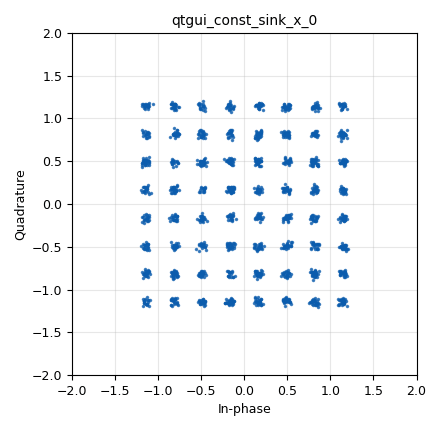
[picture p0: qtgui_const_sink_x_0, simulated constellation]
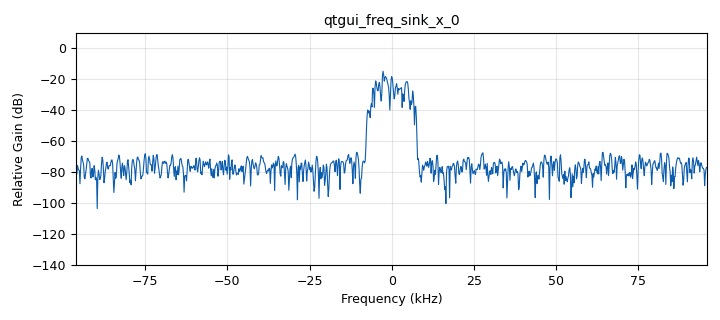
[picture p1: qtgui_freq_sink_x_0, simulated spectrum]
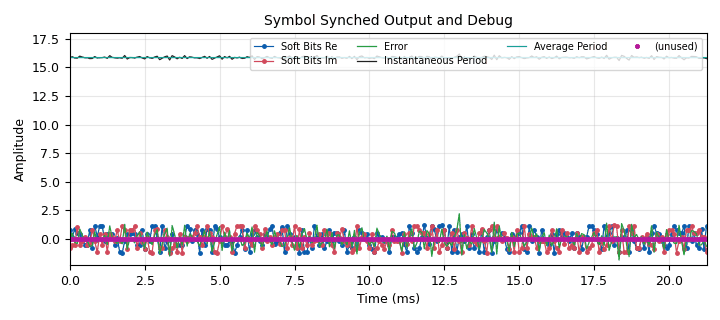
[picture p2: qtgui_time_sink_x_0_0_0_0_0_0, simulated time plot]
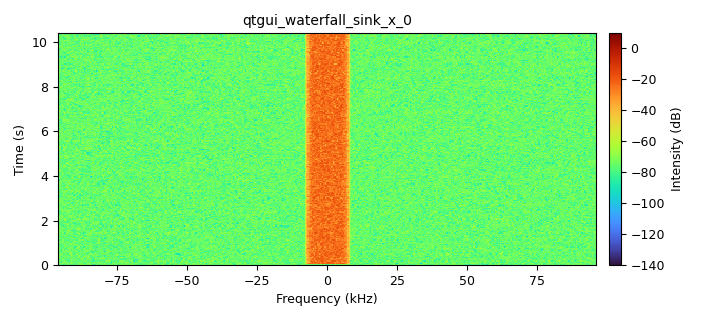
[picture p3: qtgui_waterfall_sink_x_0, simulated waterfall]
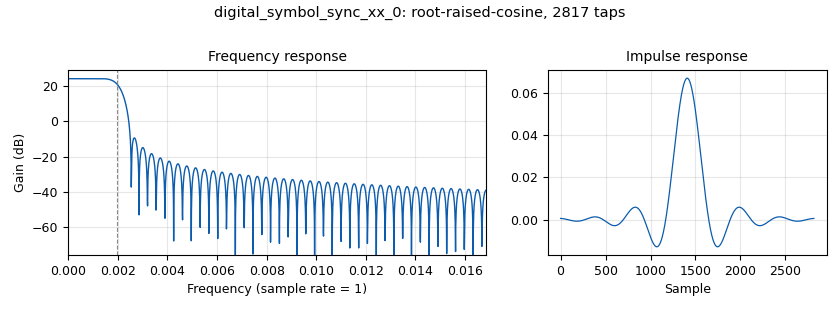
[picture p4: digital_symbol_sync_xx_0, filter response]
<?xml version='1.0' encoding='utf-8'?>
<?grc format='1' created='3.7.13'?>
<flow_graph>
<block>
<key>options</key>
<param><key>id</key><value>top_block</value></param>
<param><key>generate_options</key><value>qt_gui</value></param>
</block>
<block>
<key>variable</key>
<param><key>id</key><value>analog_bw</value></param>
<param><key>value</key><value>baud_rate*(1.0+excess_bw)</value></param>
</block>
<block>
<key>variable</key>
<param><key>id</key><value>baud_rate</value></param>
<param><key>value</key><value>samp_rate/sps</value></param>
</block>
<block>
<key>variable</key>
<param><key>id</key><value>bitrate</value></param>
<param><key>value</key><value>my_con.bits_per_symbol()*baud_rate</value></param>
</block>
<block>
<key>variable_qtgui_range</key>
<param><key>id</key><value>damp</value></param>
<param><key>value</key><value>1.5</value></param>
<param><key>gui_hint</key><value>1,2,1,1</value></param>
<param><key>label</key><value>Damping</value></param>
<param><key>orient</key><value>Qt.Horizontal</value></param>
<param><key>start</key><value>.5</value></param>
<param><key>step</key><value>.1</value></param>
<param><key>stop</key><value>3</value></param>
</block>
<block>
<key>variable</key>
<param><key>id</key><value>excess_bw</value></param>
<param><key>value</key><value>.25</value></param>
</block>
<block>
<key>variable</key>
<param><key>id</key><value>len_taps</value></param>
<param><key>value</key><value>len(rrc_taps)</value></param>
</block>
<block>
<key>variable_qtgui_range</key>
<param><key>id</key><value>loop_bw</value></param>
<param><key>value</key><value>.05</value></param>
<param><key>gui_hint</key><value>1,1,1,1</value></param>
<param><key>label</key><value>Loop BW</value></param>
<param><key>orient</key><value>Qt.Horizontal</value></param>
<param><key>start</key><value>.01</value></param>
<param><key>step</key><value>.001</value></param>
<param><key>stop</key><value>.5</value></param>
</block>
<block>
<key>variable</key>
<param><key>id</key><value>my_con</value></param>
<param><key>_enabled</key><value>0</value></param>
<param><key>value</key><value>digital.constellation_16qam().base()</value></param>
</block>
<block>
<key>variable</key>
<param><key>id</key><value>my_con</value></param>
<param><key>_enabled</key><value>0</value></param>
<param><key>value</key><value>digital.constellation_bpsk().base()</value></param>
</block>
<block>
<key>variable</key>
<param><key>id</key><value>my_con</value></param>
<param><key>_enabled</key><value>0</value></param>
<param><key>value</key><value>digital.constellation_qpsk().base()</value></param>
</block>
<block>
<key>variable</key>
<param><key>id</key><value>my_con</value></param>
<param><key>value</key><value>digital.qam_constellation(64).base()</value></param>
</block>
<block>
<key>variable</key>
<param><key>id</key><value>my_con</value></param>
<param><key>_enabled</key><value>0</value></param>
<param><key>value</key><value>digital.qam_constellation(256).base()</value></param>
</block>
<block>
<key>variable</key>
<param><key>id</key><value>my_con</value></param>
<param><key>_enabled</key><value>0</value></param>
<param><key>value</key><value>digital.qam_constellation(1024).base()</value></param>
</block>
<block>
<key>variable</key>
<param><key>id</key><value>nfilts</value></param>
<param><key>value</key><value>16</value></param>
</block>
<block>
<key>variable</key>
<param><key>id</key><value>ntaps</value></param>
<param><key>value</key><value>int(11*sps*nfilts)</value></param>
</block>
<block>
<key>variable</key>
<param><key>id</key><value>ntaps</value></param>
<param><key>_enabled</key><value>0</value></param>
<param><key>value</key><value>int(sps*nfilts*7)</value></param>
</block>
<block>
<key>variable</key>
<param><key>id</key><value>osps</value></param>
<param><key>value</key><value>1</value></param>
</block>
<block>
<key>variable</key>
<param><key>id</key><value>rrc_taps</value></param>
<param><key>value</key><value>firdes.root_raised_cosine(nfilts,1.0,1.0/(nfilts*sps), excess_bw, ntaps)</value></param>
</block>
<block>
<key>variable</key>
<param><key>id</key><value>samp_rate</value></param>
<param><key>value</key><value>192000</value></param>
</block>
<block>
<key>variable_qtgui_range</key>
<param><key>id</key><value>snr</value></param>
<param><key>value</key><value>42</value></param>
<param><key>gui_hint</key><value>0,0,1,1</value></param>
<param><key>label</key><value>SNR</value></param>
<param><key>orient</key><value>Qt.Horizontal</value></param>
<param><key>start</key><value>10</value></param>
<param><key>step</key><value>1</value></param>
<param><key>stop</key><value>60</value></param>
</block>
<block>
<key>variable</key>
<param><key>id</key><value>snr</value></param>
<param><key>_enabled</key><value>0</value></param>
<param><key>value</key><value>50</value></param>
</block>
<block>
<key>variable</key>
<param><key>id</key><value>sps</value></param>
<param><key>value</key><value>16</value></param>
</block>
<block>
<key>variable_qtgui_range</key>
<param><key>id</key><value>ted_gain</value></param>
<param><key>value</key><value>1</value></param>
<param><key>gui_hint</key><value>1,0,1,1</value></param>
<param><key>label</key><value>TED gain</value></param>
<param><key>orient</key><value>Qt.Horizontal</value></param>
<param><key>start</key><value>.5</value></param>
<param><key>step</key><value>.1</value></param>
<param><key>stop</key><value>3</value></param>
</block>
<block>
<key>variable_qtgui_range</key>
<param><key>id</key><value>xpd</value></param>
<param><key>value</key><value>30</value></param>
<param><key>gui_hint</key><value>0,1,1,1</value></param>
<param><key>label</key><value>XPD</value></param>
<param><key>orient</key><value>Qt.Horizontal</value></param>
<param><key>start</key><value>10</value></param>
<param><key>step</key><value>1</value></param>
<param><key>stop</key><value>60</value></param>
</block>
<block>
<key>variable</key>
<param><key>id</key><value>xpd</value></param>
<param><key>_enabled</key><value>0</value></param>
<param><key>value</key><value>30</value></param>
</block>
<block>
<key>analog_random_source_x</key>
<param><key>id</key><value>analog_random_source_x_0</value></param>
<param><key>max</key><value>256</value></param>
<param><key>min</key><value>0</value></param>
<param><key>num_samps</key><value>321</value></param>
<param><key>type</key><value>byte</value></param>
<param><key>repeat</key><value>True</value></param>
</block>
<block>
<key>analog_random_source_x</key>
<param><key>id</key><value>analog_random_source_x_0_0</value></param>
<param><key>max</key><value>256</value></param>
<param><key>min</key><value>0</value></param>
<param><key>num_samps</key><value>123</value></param>
<param><key>type</key><value>byte</value></param>
<param><key>repeat</key><value>True</value></param>
</block>
<block>
<key>blocks_add_xx</key>
<param><key>id</key><value>blocks_add_xx_0</value></param>
<param><key>type</key><value>complex</value></param>
</block>
<block>
<key>blocks_float_to_complex</key>
<param><key>id</key><value>blocks_float_to_complex_0_0</value></param>
</block>
<block>
<key>blocks_float_to_complex</key>
<param><key>id</key><value>blocks_float_to_complex_1_0</value></param>
</block>
<block>
<key>blocks_throttle</key>
<param><key>id</key><value>blocks_throttle_0</value></param>
<param><key>samples_per_second</key><value>samp_rate</value></param>
<param><key>type</key><value>complex</value></param>
</block>
<block>
<key>blocks_vector_source_x</key>
<param><key>id</key><value>blocks_vector_source_x_0</value></param>
<param><key>_enabled</key><value>0</value></param>
<param><key>type</key><value>byte</value></param>
<param><key>repeat</key><value>True</value></param>
<param><key>vector</key><value>(170, )</value></param>
</block>
<block>
<key>channels_channel_model</key>
<param><key>id</key><value>channels_channel_model_0</value></param>
<param><key>epsilon</key><value>1.01</value></param>
<param><key>freq_offset</key><value>0.0</value></param>
<param><key>noise_voltage</key><value>10**(-snr/20.0)</value></param>
<param><key>seed</key><value>0</value></param>
<param><key>taps</key><value>1</value></param>
</block>
<block>
<key>channels_channel_model</key>
<param><key>id</key><value>channels_channel_model_0_0</value></param>
<param><key>epsilon</key><value>1.0</value></param>
<param><key>freq_offset</key><value>0.0</value></param>
<param><key>noise_voltage</key><value>10**(-snr/20.0)</value></param>
<param><key>seed</key><value>1256</value></param>
<param><key>taps</key><value>10**(-xpd/20.0)</value></param>
</block>
<block>
<key>digital_constellation_modulator</key>
<param><key>id</key><value>digital_constellation_modulator_0</value></param>
<param><key>constellation</key><value>my_con</value></param>
<param><key>differential</key><value>True</value></param>
<param><key>excess_bw</key><value>excess_bw</value></param>
<param><key>samples_per_symbol</key><value>sps</value></param>
</block>
<block>
<key>digital_constellation_modulator</key>
<param><key>id</key><value>digital_constellation_modulator_0_0</value></param>
<param><key>constellation</key><value>my_con</value></param>
<param><key>differential</key><value>True</value></param>
<param><key>excess_bw</key><value>excess_bw</value></param>
<param><key>samples_per_symbol</key><value>sps</value></param>
</block>
<block>
<key>digital_symbol_sync_xx</key>
<param><key>id</key><value>digital_symbol_sync_xx_0</value></param>
<param><key>damping</key><value>damp</value></param>
<param><key>ted_gain</key><value>ted_gain</value></param>
<param><key>nfilters</key><value>nfilts</value></param>
<param><key>type</key><value>cc</value></param>
<param><key>resamp_type</key><value>digital.IR_PFB_MF</value></param>
<param><key>loop_bw</key><value>loop_bw</value></param>
<param><key>max_dev</key><value>1</value></param>
<param><key>osps</key><value>1</value></param>
<param><key>pfb_mf_taps</key><value>rrc_taps</value></param>
<param><key>sps</key><value>sps</value></param>
<param><key>constellation</key><value>my_con</value></param>
<param><key>ted_type</key><value>digital.TED_GARDNER</value></param>
</block>
<block>
<key>import</key>
<param><key>id</key><value>import_0</value></param>
<param><key>import</key><value>from gnuradio import digital</value></param>
</block>
<block>
<key>import</key>
<param><key>id</key><value>import_0_0</value></param>
<param><key>import</key><value>import numpy as np</value></param>
</block>
<block>
<key>qtgui_const_sink_x</key>
<param><key>id</key><value>qtgui_const_sink_x_0</value></param>
<param><key>gui_hint</key><value>tabs@1</value></param>
<param><key>size</key><value>25*my_con.arity()</value></param>
<param><key>type</key><value>complex</value></param>
</block>
<block>
<key>qtgui_freq_sink_x</key>
<param><key>id</key><value>qtgui_freq_sink_x_0</value></param>
<param><key>bw</key><value>samp_rate</value></param>
<param><key>fc</key><value>0</value></param>
<param><key>fftsize</key><value>1024</value></param>
<param><key>gui_hint</key><value>tabs@3</value></param>
<param><key>showports</key><value>True</value></param>
<param><key>type</key><value>complex</value></param>
<param><key>wintype</key><value>firdes.WIN_BLACKMAN_hARRIS</value></param>
</block>
<block>
<key>qtgui_time_sink_x</key>
<param><key>id</key><value>qtgui_time_sink_x_0_0_0_0_0_0</value></param>
<param><key>gui_hint</key><value>tabs@2</value></param>
<param><key>color1</key><value>"blue"</value></param>
<param><key>label1</key><value>Soft Bits Re</value></param>
<param><key>marker1</key><value>1</value></param>
<param><key>color2</key><value>"magenta"</value></param>
<param><key>label2</key><value>Soft Bits Im</value></param>
<param><key>marker2</key><value>0</value></param>
<param><key>color3</key><value>"red"</value></param>
<param><key>label3</key><value>Error</value></param>
<param><key>color4</key><value>"green"</value></param>
<param><key>label4</key><value>Instantaneous Period</value></param>
<param><key>color5</key><value>"black"</value></param>
<param><key>label5</key><value>Average Period</value></param>
<param><key>color6</key><value>"yellow"</value></param>
<param><key>label6</key><value>(unused)</value></param>
<param><key>style6</key><value>0</value></param>
<param><key>name</key><value>Symbol Synched Output and Debug</value></param>
<param><key>nconnections</key><value>3</value></param>
<param><key>size</key><value>256*osps</value></param>
<param><key>srate</key><value>baud_rate*osps</value></param>
<param><key>tr_delay</key><value>0.1</value></param>
<param><key>tr_level</key><value>0.1</value></param>
<param><key>tr_mode</key><value>qtgui.TRIG_MODE_NORM</value></param>
<param><key>tr_tag</key><value>"time_est"</value></param>
<param><key>type</key><value>complex</value></param>
<param><key>update_time</key><value>0.1</value></param>
<param><key>ymax</key><value>sps+2</value></param>
<param><key>ymin</key><value>-1.5</value></param>
</block>
<block>
<key>qtgui_waterfall_sink_x</key>
<param><key>id</key><value>qtgui_waterfall_sink_x_0</value></param>
<param><key>bw</key><value>samp_rate</value></param>
<param><key>fc</key><value>0</value></param>
<param><key>fftsize</key><value>1024</value></param>
<param><key>gui_hint</key><value>tabs@0</value></param>
<param><key>showports</key><value>True</value></param>
<param><key>type</key><value>complex</value></param>
<param><key>wintype</key><value>firdes.WIN_BLACKMAN_hARRIS</value></param>
</block>
<block>
<key>qtgui_tab_widget</key>
<param><key>id</key><value>tabs</value></param>
<param><key>gui_hint</key><value>2,0,3,3</value></param>
<param><key>label0</key><value>Baseband</value></param>
<param><key>label1</key><value>Constellation</value></param>
<param><key>label2</key><value>Timing</value></param>
<param><key>label3</key><value>Spectrum</value></param>
<param><key>num_tabs</key><value>4</value></param>
</block>
<connection><source_block_id>analog_random_source_x_0</source_block_id><sink_block_id>digital_constellation_modulator_0</sink_block_id><source_key>0</source_key><sink_key>0</sink_key></connection>
<connection><source_block_id>analog_random_source_x_0_0</source_block_id><sink_block_id>digital_constellation_modulator_0_0</sink_block_id><source_key>0</source_key><sink_key>0</sink_key></connection>
<connection><source_block_id>blocks_add_xx_0</source_block_id><sink_block_id>blocks_throttle_0</sink_block_id><source_key>0</source_key><sink_key>0</sink_key></connection>
<connection><source_block_id>blocks_add_xx_0</source_block_id><sink_block_id>qtgui_freq_sink_x_0</sink_block_id><source_key>0</source_key><sink_key>0</sink_key></connection>
<connection><source_block_id>blocks_add_xx_0</source_block_id><sink_block_id>qtgui_waterfall_sink_x_0</sink_block_id><source_key>0</source_key><sink_key>0</sink_key></connection>
<connection><source_block_id>blocks_float_to_complex_0_0</source_block_id><sink_block_id>qtgui_time_sink_x_0_0_0_0_0_0</sink_block_id><source_key>0</source_key><sink_key>1</sink_key></connection>
<connection><source_block_id>blocks_float_to_complex_1_0</source_block_id><sink_block_id>qtgui_time_sink_x_0_0_0_0_0_0</sink_block_id><source_key>0</source_key><sink_key>2</sink_key></connection>
<connection><source_block_id>blocks_throttle_0</source_block_id><sink_block_id>digital_symbol_sync_xx_0</sink_block_id><source_key>0</source_key><sink_key>0</sink_key></connection>
<connection><source_block_id>blocks_vector_source_x_0</source_block_id><sink_block_id>digital_constellation_modulator_0</sink_block_id><source_key>0</source_key><sink_key>0</sink_key></connection>
<connection><source_block_id>channels_channel_model_0</source_block_id><sink_block_id>blocks_add_xx_0</sink_block_id><source_key>0</source_key><sink_key>1</sink_key></connection>
<connection><source_block_id>channels_channel_model_0_0</source_block_id><sink_block_id>blocks_add_xx_0</sink_block_id><source_key>0</source_key><sink_key>0</sink_key></connection>
<connection><source_block_id>digital_constellation_modulator_0</source_block_id><sink_block_id>channels_channel_model_0</sink_block_id><source_key>0</source_key><sink_key>0</sink_key></connection>
<connection><source_block_id>digital_constellation_modulator_0_0</source_block_id><sink_block_id>channels_channel_model_0_0</sink_block_id><source_key>0</source_key><sink_key>0</sink_key></connection>
<connection><source_block_id>digital_symbol_sync_xx_0</source_block_id><sink_block_id>blocks_float_to_complex_1_0</sink_block_id><source_key>3</source_key><sink_key>0</sink_key></connection>
<connection><source_block_id>digital_symbol_sync_xx_0</source_block_id><sink_block_id>blocks_float_to_complex_0_0</sink_block_id><source_key>2</source_key><sink_key>1</sink_key></connection>
<connection><source_block_id>digital_symbol_sync_xx_0</source_block_id><sink_block_id>blocks_float_to_complex_0_0</sink_block_id><source_key>1</source_key><sink_key>0</sink_key></connection>
<connection><source_block_id>digital_symbol_sync_xx_0</source_block_id><sink_block_id>qtgui_const_sink_x_0</sink_block_id><source_key>0</source_key><sink_key>0</sink_key></connection>
<connection><source_block_id>digital_symbol_sync_xx_0</source_block_id><sink_block_id>qtgui_time_sink_x_0_0_0_0_0_0</sink_block_id><source_key>0</source_key><sink_key>0</sink_key></connection>
</flow_graph>
